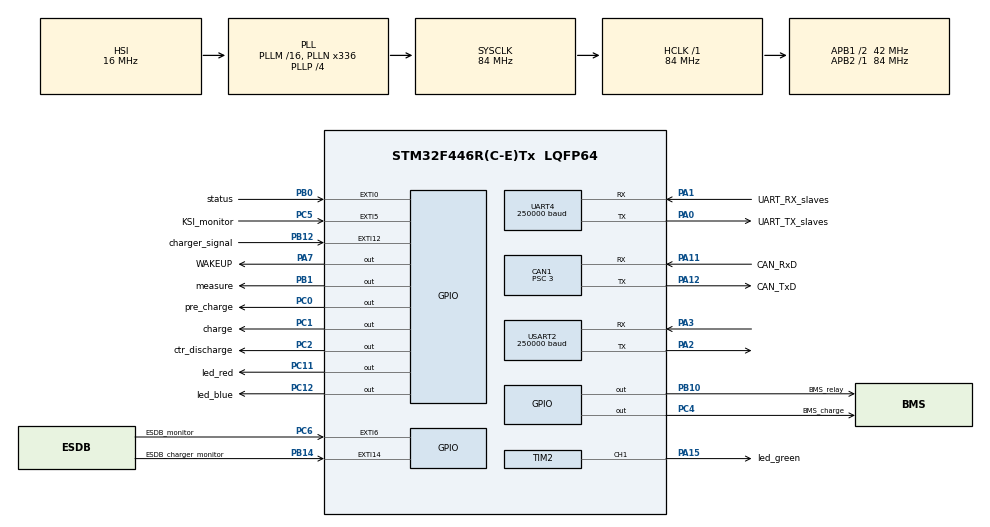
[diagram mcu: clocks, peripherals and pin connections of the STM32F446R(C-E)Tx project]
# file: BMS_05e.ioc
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CAN1.BS1=CAN_BS1_11TQ
CAN1.BS2=CAN_BS2_2TQ
CAN1.CalculateBaudRate=1000000
CAN1.CalculateTimeBit=1000
CAN1.CalculateTimeQuantum=71.42857142857143
CAN1.Prescaler=3
Dma.Request0=UART4_RX
Dma.Request1=TIM6_UP
Dma.TIM6_UP.1.Direction=DMA_MEMORY_TO_PERIPH
Dma.TIM6_UP.1.FIFOMode=DMA_FIFOMODE_DISABLE
Dma.TIM6_UP.1.Instance=DMA1_Stream1
Dma.TIM6_UP.1.MemDataAlignment=DMA_MDATAALIGN_HALFWORD
Dma.TIM6_UP.1.MemInc=DMA_MINC_ENABLE
Dma.TIM6_UP.1.Mode=DMA_CIRCULAR
Dma.TIM6_UP.1.PeriphDataAlignment=DMA_PDATAALIGN_HALFWORD
Dma.TIM6_UP.1.PeriphInc=DMA_PINC_DISABLE
Dma.TIM6_UP.1.Priority=DMA_PRIORITY_LOW
Dma.UART4_RX.0.Direction=DMA_PERIPH_TO_MEMORY
Dma.UART4_RX.0.FIFOMode=DMA_FIFOMODE_DISABLE
Dma.UART4_RX.0.Instance=DMA1_Stream2
Dma.UART4_RX.0.MemDataAlignment=DMA_MDATAALIGN_BYTE
Dma.UART4_RX.0.MemInc=DMA_MINC_ENABLE
Dma.UART4_RX.0.Mode=DMA_NORMAL
Dma.UART4_RX.0.PeriphDataAlignment=DMA_PDATAALIGN_BYTE
Dma.UART4_RX.0.PeriphInc=DMA_PINC_DISABLE
Dma.UART4_RX.0.Priority=DMA_PRIORITY_LOW
Mcu.Family=STM32F4
Mcu.Name=STM32F446R(C-E)Tx
Mcu.Package=LQFP64
NVIC.CAN1_RX0_IRQn=true\:0\:0\:false\:false\:true\:true\:true\:true
NVIC.CAN1_RX1_IRQn=true\:0\:0\:false\:false\:true\:true\:true\:true
NVIC.DMA1_Stream1_IRQn=true\:0\:0\:false\:false\:true\:false\:true\:true
NVIC.DMA1_Stream2_IRQn=true\:0\:0\:false\:false\:true\:false\:true\:true
NVIC.EXTI0_IRQn=true\:0\:0\:false\:false\:true\:true\:true\:true
NVIC.EXTI15_10_IRQn=true\:0\:0\:false\:false\:true\:true\:true\:true
NVIC.EXTI9_5_IRQn=true\:0\:0\:false\:false\:true\:true\:true\:true
NVIC.PriorityGroup=NVIC_PRIORITYGROUP_4
NVIC.TIM2_IRQn=true\:0\:0\:false\:false\:true\:true\:true\:true
NVIC.TIM4_IRQn=true\:0\:0\:false\:false\:true\:true\:true\:true
NVIC.TIM6_DAC_IRQn=true\:0\:0\:false\:false\:true\:true\:true\:true
NVIC.TIM7_IRQn=true\:0\:0\:false\:false\:true\:true\:true\:true
NVIC.UART4_IRQn=true\:0\:0\:false\:false\:true\:true\:true\:true
PA0-WKUP.GPIO_Label=UART_TX_slaves
PA0-WKUP.Mode=Asynchronous
PA0-WKUP.Signal=UART4_TX
PA1.GPIO_Label=UART_RX_slaves
PA1.Mode=Asynchronous
PA1.Signal=UART4_RX
PA11.GPIO_Label=CAN_RxD
PA11.Mode=CAN_Activate
PA11.Signal=CAN1_RX
PA12.GPIO_Label=CAN_TxD
PA12.Mode=CAN_Activate
PA12.Signal=CAN1_TX
PA13.Signal=SYS_JTMS-SWDIO
PA14.Signal=SYS_JTCK-SWCLK
PA15.GPIO_Label=led_green
PA15.Signal=S_TIM2_CH1_ETR
PA2.Mode=Asynchronous
PA2.Signal=USART2_TX
PA3.Mode=Asynchronous
PA3.Signal=USART2_RX
PA7.GPIO_Label=WAKEUP
PA7.Signal=GPIO_Output
PB0.GPIO_Label=status
PB0.GPIO_ModeDefaultEXTI=GPIO_MODE_IT_RISING_FALLING
PB0.Signal=GPXTI0
PB1.GPIO_Label=measure
PB1.GPIO_PuPd=GPIO_NOPULL
PB1.Signal=GPIO_Output
PB10.GPIO_Label=BMS_relay
PB10.Signal=GPIO_Output
PB12.GPIO_Label=charger_signal
PB12.GPIO_ModeDefaultEXTI=GPIO_MODE_IT_RISING_FALLING
PB12.GPIO_PuPd=GPIO_PULLDOWN
PB12.Signal=GPXTI12
PB14.GPIO_Label=ESDB_charger_monitor
PB14.GPIO_ModeDefaultEXTI=GPIO_MODE_IT_RISING_FALLING
PB14.GPIO_PuPd=GPIO_PULLDOWN
PB14.Signal=GPXTI14
PB3.Signal=SYS_JTDO-SWO
PC0.GPIO_Label=pre_charge
PC0.Signal=GPIO_Output
PC1.GPIO_Label=charge
PC1.Signal=GPIO_Output
PC11.GPIO_Label=led_red
PC11.Signal=GPIO_Output
PC12.GPIO_Label=led_blue
PC12.Signal=GPIO_Output
PC2.GPIO_Label=ctr_discharge
PC2.Signal=GPIO_Output
PC4.GPIO_Label=BMS_charge
PC4.Signal=GPIO_Output
PC5.GPIO_Label=KSI_monitor
PC5.GPIO_ModeDefaultEXTI=GPIO_MODE_IT_RISING_FALLING
PC5.GPIO_PuPd=GPIO_NOPULL
PC5.Signal=GPXTI5
PC6.GPIO_Label=ESDB_monitor
PC6.GPIO_ModeDefaultEXTI=GPIO_MODE_IT_RISING_FALLING
PC6.GPIO_PuPd=GPIO_PULLDOWN
PC6.Signal=GPXTI6
ProjectManager.HeapSize=0x200
ProjectManager.StackSize=0x400
ProjectManager.TargetToolchain=STM32CubeIDE
RCC.AHBFreq_Value=84000000
RCC.APB1CLKDivider=RCC_HCLK_DIV2
RCC.APB1Freq_Value=42000000
RCC.APB1TimFreq_Value=84000000
RCC.APB2Freq_Value=84000000
RCC.APB2TimFreq_Value=84000000
RCC.CortexFreq_Value=84000000
RCC.HCLKFreq_Value=84000000
RCC.PLLN=336
RCC.PLLP=RCC_PLLP_DIV4
RCC.SYSCLKFreq_VALUE=84000000
RCC.SYSCLKSource=RCC_SYSCLKSOURCE_PLLCLK
RCC.USBFreq_Value=168000000
RCC.VCOOutputFreq_Value=336000000
SH.S_TIM2_CH1_ETR.0=TIM2_CH1,PWM Generation1 CH1
TIM2.AutoReloadPreload=TIM_AUTORELOAD_PRELOAD_ENABLE
TIM2.Channel-PWM\ Generation1\ CH1=TIM_CHANNEL_1
TIM2.Period=10000 - 1
TIM2.Prescaler=8400 - 1
TIM4.Period=62500 - 1
TIM4.Prescaler=1344 - 1
TIM6.Period=170 - 1
TIM6.Prescaler=8400 - 1
TIM7.Period=1000 - 1
TIM7.Prescaler=84 - 1
UART4.BaudRate=250000
UART4.VirtualMode=Asynchronous
USART2.BaudRate=250000
USART2.VirtualMode=VM_ASYNC
VP_TIM2_VS_ClockSourceINT.Mode=Internal
VP_TIM4_VS_ClockSourceINT.Mode=Internal
VP_TIM6_VS_ClockSourceINT.Mode=Enable_Timer
VP_TIM7_VS_ClockSourceINT.Mode=Enable_Timer
board=custom

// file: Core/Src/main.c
/* USER CODE BEGIN Header */
/**
  ******************************************************************************
  * @file           : main.c
  * @brief          : Main program body
  ******************************************************************************
  * @attention
  *
  * Copyright (c) 2025 STMicroelectronics.
  * All rights reserved.
  *
  * This software is licensed under terms that can be found in the LICENSE file
  * in the root directory of this software component.
  * If no LICENSE file comes with this software, it is provided AS-IS.
  *
  ******************************************************************************
  */
/* USER CODE END Header */
#include "main.h"

/* USER CODE BEGIN Includes */
#include "pl455.h"
#include "CO_app_STM32.h"
#include "OD.h"
/* USER CODE END Includes */

/* USER CODE BEGIN PTD */
typedef enum {
	SAFE = 0,
	ENGAGED,
	CHARGING,
	NOT_SAFE
} BMS_STATE_EnumTypedef;

/* USER CODE END PTD */

/* USER CODE BEGIN PD */

#define NUM_CELLS_SLAVE 15
#define NUM_TEMPERATURES 6
#define NUM_CELLS 30
#define NUM_SLAVES 2
#define SLAVE_RX_BUFF_SIZE 128

#define OVER_VOLT 4.2
#define UNDER_VOLT 2.5

#define VOLT_SEND_OFFSET 2.2

#define OVER_TEMPERATURE 70.0 // CELCIUS
#define WARNING_TEMPERATURE 65.0 //CELCIUS

#define DEBOUNCE_DELAY 100

#define COMS_SLAVES 10000 //10 seconds without communications, trigger BMS_OK to false

// For CANOpen
#define ARR_SEQ_LEN  8 // 6tpdos × 17 ms + 1×898 ms
#define NUM_TICKS ARR_SEQ_LEN

//Variable CanOpen TPDO Erros
#define canOpen_no_issues 0b00
#define canOpen_overvoltage 0b01
#define canOpen_undervoltage 0b10
#define canOpen_overcurrent 0b11
#define canOpen_warningTemperature 0b01
#define canOpen_overTemperature 0b10

#define canOpen_safe 0b00
#define canOpen_engaged 0b01
#define canOpen_charging 0b10
#define canOpen_notsafe 0b11
/* USER CODE END PD */

CAN_HandleTypeDef hcan1;

TIM_HandleTypeDef htim2;
TIM_HandleTypeDef htim4;
TIM_HandleTypeDef htim6;
TIM_HandleTypeDef htim7;
DMA_HandleTypeDef hdma_tim6_up;

UART_HandleTypeDef huart4;
UART_HandleTypeDef huart2;
DMA_HandleTypeDef hdma_uart4_rx;

/* USER CODE BEGIN PV */
/* BMS STATE */
BMS_STATE_EnumTypedef BMS_state;
bool_t BMS_state_change;

/* BMS OK */
bool_t BMS_OK;
/* IMD OK */
bool_t IMD_OK;

/* ESDB ON */
bool_t ESDB_flag;
/* MEASURE ESDB */
bool_t ESDB_watchdog;

/* ESDB_charger ON */
bool_t ESDB_charge_flag;
/* MEASURE ESDB_charger */
bool_t ESDB_charge_watchdog;

/* TSMS (KSI) ON */
bool_t TSMS_flag;
/* MEASURE KSI (TSMS) */
bool_t TSMS_watchdog;

/* CHARGER Optocoupler */
bool_t charger_optocoupler_flag;
/* charger Optocoupler Watch Dog */
bool_t charger_optocoupler_watchdog;
/* charger relay enable variable */
bool_t charger_relay_enable;

/* Pre-charge and Dis_charge variable */
bool_t pre_charge_enable;
bool_t dis_charge_enable;
/* Charge enable */
bool_t charge_enable;

/* ERRORS */
uint32_t under_volt, over_volt, can_auxiliar;
uint8_t over_temp;
uint8_t warning_temp;
bool_t over_current;
bool_t coms_slave;
uint8_t last_cells_error;
uint8_t lastlast_cells_error;

uint32_t coms_slaves_time;

/* SLAVES */
float v_slave1[NUM_CELLS_SLAVE];
float v_slave2[NUM_CELLS_SLAVE];
float temperatures[NUM_TEMPERATURES];

float B_plus;
float B_plus_fuse;

float HV_plus;

/* M-S COMMS */
char msg_debug[512]; //message between Master and PC for debug
size_t msg_debug_len; //message with the length of msg_debug

uint8_t msg_slave[SLAVE_RX_BUFF_SIZE]; //message between master and slave
uint16_t msg_slave_len;

bool_t MS_send_flag;
bool_t MS_receive_flag;

/* CAN BUS */
uint16_t timestampGrupo = 0;

volatile uint8_t flagEnvioTPDO = 0;
uint8_t blocoAtual = 0;
uint8_t contadorTicks = 0;

/*Debug state char*/
char *BMS_STATE_STRINGS[] = {
    "SAFE",
    "ENGAGED",
    "CHARGING",
	"NOT_SAFE"
};

uint32_t debounce_start;
uint8_t debounce_pending;

// For CANOpen
static const uint16_t arrSeq[ARR_SEQ_LEN] =
		{ 169, 169, 169, 169, 169, 169, 169, 8809 };
/* USER CODE END PV */

void SystemClock_Config(void);
static void MX_GPIO_Init(void);
static void MX_DMA_Init(void);
static void MX_TIM2_Init(void);
static void MX_CAN1_Init(void);
static void MX_UART4_Init(void);
static void MX_TIM6_Init(void);
static void MX_TIM7_Init(void);
static void MX_TIM4_Init(void);
static void MX_USART2_UART_Init(void);

int main(void)
{

  /* USER CODE BEGIN 1 */
  //FIXME: quando forem mudar a placa da master, alguns watchdogs pinos estão diferentes na versão velha e na nova, tem que alterar isso no ponto IOC
  /* USER CODE END 1 */

  /* MCU Configuration--------------------------------------------------------*/

  /* Reset of all peripherals, Initializes the Flash interface and the Systick. */
  HAL_Init();

  /* USER CODE BEGIN Init */
  BMS_state = NOT_SAFE;
  BMS_state_change = true;

  under_volt = 0;
  over_volt = 0;
  can_auxiliar = 0;
  over_temp = 0;
  warning_temp = 0;
  over_current = false;
  coms_slave = true;

  coms_slaves_time = HAL_GetTick();

  BMS_OK = true;
  IMD_OK = true;

  ESDB_watchdog = false;
  ESDB_flag = true;

  ESDB_charge_watchdog = false;
  ESDB_charge_flag = true;

  TSMS_watchdog = false;
  TSMS_flag = false;

  charger_optocoupler_flag = false;
  charger_optocoupler_watchdog = false;
  charger_relay_enable = false;

  pre_charge_enable = false;
  dis_charge_enable = false;
  charge_enable = false;

  MS_send_flag = false;
  MS_receive_flag = false;

  debounce_pending = 0;

  last_cells_error = 0x00;
  lastlast_cells_error = 0x00;

  /* USER CODE END Init */

  /* Configure the system clock */
  SystemClock_Config();

  /* Initialize all configured peripherals */
  MX_GPIO_Init();
  MX_DMA_Init();
  MX_TIM2_Init();
  MX_CAN1_Init();
  MX_UART4_Init();
  MX_TIM6_Init();
  MX_TIM7_Init();
  MX_TIM4_Init();
  MX_USART2_UART_Init();
  /* USER CODE BEGIN 2 */

  /*SET BMS_RELAY INITIAL CLOSE */
  HAL_GPIO_WritePin(BMS_relay_GPIO_Port, BMS_relay_Pin, GPIO_PIN_SET);
  HAL_GPIO_WritePin(BMS_charge_GPIO_Port, BMS_charge_Pin, GPIO_PIN_SET); //FIXME: Acrescentei isto uma vez que estes dois relays funcionam como se fossem um só e começam como se tudo estivesse bem

  //FIXME: Acrescentei isto que é o controlo do relay do charger que é controlado pelo carregador, por essa mesma razão, este começa a false
  HAL_GPIO_WritePin(charge_GPIO_Port, charge_Pin, GPIO_PIN_RESET);
  charger_relay_enable = false;

  HAL_Delay(100); //Delay just to ensure that the current will

  /* READ INITIAL VALUES OF THE WATCHDOGS */
  if( HAL_GPIO_ReadPin(status_GPIO_Port, status_Pin) == GPIO_PIN_SET){
  	  IMD_OK = true;
    }
    else{
  	  IMD_OK = false;
    }

  if( HAL_GPIO_ReadPin(KSI_monitor_GPIO_Port, KSI_monitor_Pin) == GPIO_PIN_SET){
	  TSMS_watchdog = true;
  }
  else{
	  TSMS_watchdog = false;
  }

  if( HAL_GPIO_ReadPin(ESDB_monitor_GPIO_Port, ESDB_monitor_Pin) == GPIO_PIN_SET){
	  ESDB_watchdog = true;
  }
  else{
	  ESDB_watchdog = false;
  }

  if( HAL_GPIO_ReadPin(ESDB_charger_monitor_GPIO_Port, ESDB_charger_monitor_Pin) == GPIO_PIN_SET){
  	  ESDB_charge_watchdog = true;
    }
    else{
  	  ESDB_charge_watchdog = false;
    }

  if( HAL_GPIO_ReadPin(charger_signal_GPIO_Port, charger_signal_Pin) == GPIO_PIN_SET) {
	  charger_optocoupler_watchdog = true;
  }
  else {
	  charger_optocoupler_watchdog = false;
  }

  //Message to debug, verify if the connection between BMS and PC are good
  msg_debug_len = sprintf(msg_debug, "BMS Master Initialized with success.\n");
  HAL_UART_Transmit(&huart2, (uint8_t *)msg_debug, msg_debug_len, 1000);
  memset(msg_debug, 0, msg_debug_len);

  //FIXME: Tem que descomentar o codigo do wakeup e setups dos slaves
  /* WakeUp and Setup Routine for BQ76PL455A-Q1 */
  HAL_Delay(500);
  wakeUp(); //Wake up the master slave and he will wake up the others

  HAL_Delay(500);
  setupSlave(); //Setup all the slave
  //FIXME: Alterei uma cena no balancing setup
  balancing_setup();

  //This will receive the data from slave (uart) via DMA - activate after the setup is done
  HAL_UARTEx_ReceiveToIdle_DMA(&huart4, msg_slave, SLAVE_RX_BUFF_SIZE);
  __HAL_DMA_DISABLE_IT(&hdma_uart4_rx,DMA_IT_HT); //This deactivates the callback on half the message receive from slave

  /* CanOPEN initiation */
  CANopenNodeSTM32 canopenNodeSTM32;
  canopenNodeSTM32.CANHandle = &hcan1;
  canopenNodeSTM32.HWInitFunction = MX_CAN1_Init;
  canopenNodeSTM32.timerHandle = &htim7;
  canopenNodeSTM32.desiredNodeID = 32; //TODO: a modificar
  canopenNodeSTM32.baudrate = 1000;
  canopen_app_init(&canopenNodeSTM32);
  HAL_DMA_Start(&hdma_tim6_up, (uint32_t) arrSeq, (uint32_t) &TIM6->ARR, ARR_SEQ_LEN);
  __HAL_TIM_ENABLE_DMA(&htim6, TIM_DMA_UPDATE);
  HAL_TIM_Base_Start_IT(&htim6);

  /* SET THE PWM FOR GREEN LED*/
  TIM2->CCR1 = 0;
  HAL_TIM_PWM_Start(&htim2, TIM_CHANNEL_1);

  /* SET THE TIMERS TO START RUN*/
  HAL_TIM_Base_Start_IT(&htim4);

  //powerDown();

  HAL_Delay(5000); //Wait for IMD

  /* USER CODE END 2 */

  /* Infinite loop */
  /* USER CODE BEGIN WHILE */
  //while(1)

  while (1)
  {

	  // First thing ask for voltages (so it hopefully doesnt block)
	  if (MS_send_flag == true) {
		  MS_send_flag = false;
		  WriteReg(0, 2, 0x01, 1, FRMWRT_ALL_R);   //method 1-broadcast

		  //Debug, como isto acontece de 1 em 1 segundo, vou dar print do estado das coisas da BMS aqui
// ESDB_watchdog == (BMS_OK && IMD_OK && !charger_relay_enable
		  msg_debug_len = sprintf(msg_debug,
				  "------------------------------------------------\n\n"
				  "\t[BMS STATES]\n"
				  "\tESDB_flag = %d\n"
				  "\tESDB_charge_flag = %d\n"
				  "\tTSMS_flag = %d\n"
				  "\tESDB_wd = %d\n"
				  "\tESDB_charge_wd = %d\n"
				  "\tBMS_OK = %d\n"
				  "\tIMD_OK = %d\n"
				  "\tcharger_relay_enable = %d\n",
				  ESDB_flag,
				  ESDB_charge_flag,
				  TSMS_flag,
				  ESDB_watchdog,
				  ESDB_charge_watchdog,
				  BMS_OK,
				  IMD_OK,
				  charger_relay_enable);
		  HAL_UART_Transmit(&huart2, (uint8_t *)msg_debug, msg_debug_len, 100);

	  }

	  if(debounce_pending == 1 && (HAL_GetTick() - debounce_start) >= DEBOUNCE_DELAY){

		  debounce_pending = 0;

		  if( HAL_GPIO_ReadPin(status_GPIO_Port, status_Pin) == GPIO_PIN_SET){
			  IMD_OK = true;
		  }
		  else{
			  IMD_OK = false;
		  }

		  if( HAL_GPIO_ReadPin(KSI_monitor_GPIO_Port, KSI_monitor_Pin) == GPIO_PIN_SET){
			  TSMS_watchdog = true;
		  }
		  else{
			  TSMS_watchdog = false;
		  }

		  if( HAL_GPIO_ReadPin(ESDB_monitor_GPIO_Port, ESDB_monitor_Pin) == GPIO_PIN_SET){
			  ESDB_watchdog = true;
		  }
		  else{
			  ESDB_watchdog = false;
		  }
		  //FIXME: Descomentei isto
		  if( HAL_GPIO_ReadPin(ESDB_charger_monitor_GPIO_Port, ESDB_charger_monitor_Pin) == GPIO_PIN_SET){
			  ESDB_charge_watchdog = true;
		  }
		  else{
			  ESDB_charge_watchdog = false;
		  }

		  if( HAL_GPIO_ReadPin(charger_signal_GPIO_Port, charger_signal_Pin) == GPIO_PIN_SET) {
			  charger_optocoupler_watchdog = true;
		  }
		  else {
			  charger_optocoupler_watchdog = false;
		  }
	  }

	  //TODO: Adicionei isto: Quando é detetado que o carregador foi ligado, tem que se ligar o Charger_Relay
	  /* Charger Watchdog */

	  //Quando o carregador é ligado, ativar o relay do charger na placa dos relays
	  if( (charger_optocoupler_flag = charger_optocoupler_watchdog) == true ) {
		  if (charger_relay_enable == false) {
			  HAL_GPIO_WritePin(charge_GPIO_Port, charge_Pin, GPIO_PIN_SET);
			  charger_relay_enable = true;
		  }
	  }
	  else {
		  if(charger_relay_enable == true) {
			  HAL_GPIO_WritePin(charge_GPIO_Port, charge_Pin, GPIO_PIN_RESET);
			  charger_relay_enable = false;
		  }
	  }
	  //FIXME: Outro ponto, pode estar a acontecer de o optoucoupler, quando o carregador não está ligado, não tem o gnd de um lado e fica a flutuar na saida dele, entrada da master, neste caso, acho que isto é facilmente resolvido com um pull down interno neste pino da master que está a ler isto.

	  //FIXME: Mudei isto para: os dois relays da BMS é que funcionam como um e não o BMS_relay e o charger_Pin, ou seja, o BMS_relay e BMS_charge
	  /* BMS OK, if not -> open BMS relay */
	  if( (BMS_OK = !(under_volt || over_volt || over_temp || over_current || !coms_slave)) == false || IMD_OK == false ) {
		  HAL_GPIO_WritePin(BMS_relay_GPIO_Port, BMS_relay_Pin, GPIO_PIN_RESET);
		  HAL_GPIO_WritePin(BMS_charge_GPIO_Port, BMS_charge_Pin, GPIO_PIN_RESET);
	  }

	  /* TSMS and ESDB */
	  ESDB_flag = ESDB_watchdog == (BMS_OK && IMD_OK); // evitar mandar erro do ESDB quando a BMS != OK ou IMD != OK
	  TSMS_flag = ESDB_flag && TSMS_watchdog;

	  //TODO: Adicionei: Condição para verificar o ESDB_charger
	  /* ESDB_charger */
	  ESDB_charge_flag = true;

	  /* check if B_plus is at <5.0V */
	  if (dis_charge_enable == true && B_plus <= 5.0){
		  HAL_GPIO_WritePin(ctr_discharge_GPIO_Port, ctr_discharge_Pin, GPIO_PIN_RESET);
	  	  dis_charge_enable = false;
	  }

	  /* check if pre-check is being done and if yes, it's at maximum 90% of the total tension of the pack */
	  if (pre_charge_enable == true && B_plus >= (HV_plus * 0.9)){
		  HAL_GPIO_WritePin(pre_charge_GPIO_Port, pre_charge_Pin, GPIO_PIN_RESET);
		  pre_charge_enable = false;
	  }

	  /* SWITCH STATE */
	  //TODO: Mudei isto para incluir a logica do carregador
	  /* Basicamente, se o carregador tiver ligado, o relay_charger_enable vai estar a true e por essa razão, o ESDB_charger_flag pode ter medições certas,
	   * caso este não esteja conectado, as medições deste são inuteis e não são tidas em conta para o estado Not Safe.
	   * Caso, esteja tudo okay, entramos no outro else, onde a primeira condição que verificamos é se o charger_optoucoupler_flag == true,
	   * isto significa, que o carregador está ligado à mota e entramos no caso do charging, nunca podendo entrar no caso do safe ou engaged uma vez
	   * que não queremos que a roda começa a girar caso a mota esteja a carregar
	   */
	  if (BMS_OK == false || IMD_OK == false || ESDB_flag == false) { // Adicionei a condição do charger
		  // NOT SAFE
		  if (BMS_state != NOT_SAFE) {
			  BMS_state = NOT_SAFE;
			  BMS_state_change = true;
		  }
	  }
	  else {
		  if (charger_optocoupler_flag == true){
			  if (BMS_state != CHARGING){
				  BMS_state = CHARGING;
				  BMS_state_change = true;
			  }
		  }
		  else if (TSMS_flag == false) {
			  // SAFE
			  if (BMS_state != SAFE) {
				  BMS_state = SAFE;
				  BMS_state_change = true;
		  	  }
		  }
		  else {
			  // ENGAGED
			  if (BMS_state != ENGAGED) {
				  BMS_state = ENGAGED;
				  BMS_state_change = true;
			  }
		  }
	  }
	  //TODO: Continua comentado - Eu acho que esta lógica está mal, vou implementar a logica como eu acho que faz sentido em cima
	  /*
	  if (BMS_state == CHARGING) {
		  if (ESDB_charge_flag == false) { // falta uma condição para o charger
			  // NOT SAFE
			  if (BMS_state != NOT_SAFE) {
				  BMS_state = NOT_SAFE;
				  BMS_state_change = true;
			  }
		  }

	  }
	  else if (charger_flag == true) {
		  // charger turned ON
		  if (BMS_state != CHARGING) {
			  BMS_state = CHARGING;
			  BMS_state_change = true;
		  }
	  }*/

	  /* STATE DEFINE */
	  if (BMS_state_change == true) {

		  switch (BMS_state) {
			  case NOT_SAFE:

				  HAL_GPIO_WritePin(pre_charge_GPIO_Port, pre_charge_Pin, GPIO_PIN_RESET);
				  pre_charge_enable = false;
				  //FIXME: Eu acho que isto que está comentado, não faz sentido porque:
				  // caso seja o BMS_charge pino, este deve ser controlado ao mesmo tempo que o pino do BMS_relay
				  // caso seja o charge_relay pino, este deve ser controlado pelo controlador
				  // portanto, em nenhum caso, deve ser alterado aqui
				  /*HAL_GPIO_WritePin(BMS_charge_GPIO_Port, BMS_charge_Pin, GPIO_PIN_RESET);
				  charge_enable = false;*/

				  if (dis_charge_enable == false && B_plus >= 5.0){
					  HAL_GPIO_WritePin(ctr_discharge_GPIO_Port, ctr_discharge_Pin, GPIO_PIN_SET);
					  dis_charge_enable = true;
				  }

				  /* LED CLUSTER */
				  TIM2->CCR1 = 0;
				  HAL_GPIO_WritePin(led_blue_GPIO_Port, led_blue_Pin, GPIO_PIN_RESET);

				  HAL_GPIO_WritePin(led_red_GPIO_Port, led_red_Pin, GPIO_PIN_SET);
				  break;

			  case SAFE:

				  /* Turn off pre-charge circuit for safety reasons*/
				  HAL_GPIO_WritePin(pre_charge_GPIO_Port, pre_charge_Pin, GPIO_PIN_RESET);
				  pre_charge_enable = false;
				  //FIXME: Aqui é a mesma justificação que o caso Not Safe
				 /* HAL_GPIO_WritePin(BMS_charge_GPIO_Port, BMS_charge_Pin, GPIO_PIN_RESET);
				  charge_enable = false;*/

				  if (dis_charge_enable == false && B_plus >= 5.0){
					  HAL_GPIO_WritePin(ctr_discharge_GPIO_Port, ctr_discharge_Pin, GPIO_PIN_SET);
					  dis_charge_enable = true;
				  }

				  /* LED CLUSTER */
				  HAL_GPIO_WritePin(led_blue_GPIO_Port, led_blue_Pin, GPIO_PIN_RESET);
				  HAL_GPIO_WritePin(led_red_GPIO_Port, led_red_Pin, GPIO_PIN_RESET);

				  TIM2->CCR1 = 5000;
				  break;

			  case ENGAGED:

				  /* Turn off discharge circuit for safety reasons*/
				  HAL_GPIO_WritePin(ctr_discharge_GPIO_Port, ctr_discharge_Pin, GPIO_PIN_RESET);
				  dis_charge_enable = false;
				  //FIXME: Aqui é a mesma justificação que o case Not Safe
				  /*HAL_GPIO_WritePin(BMS_charge_GPIO_Port, BMS_charge_Pin, GPIO_PIN_RESET);
				  charge_enable = false;*/
				  HAL_Delay(750);
				  if (pre_charge_enable == false && B_plus < (HV_plus * 0.9)) {
					  HAL_GPIO_WritePin(pre_charge_GPIO_Port, pre_charge_Pin, GPIO_PIN_SET);
					  pre_charge_enable = true;
				  }

				  /* LED CLUSTER */
				  TIM2->CCR1 = 10001;
				  HAL_GPIO_WritePin(led_blue_GPIO_Port, led_blue_Pin, GPIO_PIN_RESET);
				  HAL_GPIO_WritePin(led_red_GPIO_Port, led_red_Pin, GPIO_PIN_RESET);
				  break;

			  case CHARGING:

				  /* Turn off pre-charge circuit for safety reasons */
				  HAL_GPIO_WritePin(pre_charge_GPIO_Port, pre_charge_Pin, GPIO_PIN_RESET);
				  pre_charge_enable = false;
				  //FIXME: Isto aqui acho que desaparece, porque passamos a fazer isto assim que detetamos que o charger_optocoupler_watchdog (optoucoupler) é lido.
				  //FIXME: Caso isto fosse feito aqui, o que aconteceria, é que iriamos entrar no estado do Charging, mas sempre no Not Safe porque a primeira vez a flag do ESDB_Charger estava a falso e nunca mais sai porque iamos sempre estar no NOT Safe
				  /*HAL_GPIO_WritePin(charge_GPIO_Port, charge_Pin, GPIO_PIN_SET);
				  charge_enable = true;*/

				  if (dis_charge_enable == false && B_plus >= 5.0){
					  HAL_GPIO_WritePin(ctr_discharge_GPIO_Port, ctr_discharge_Pin, GPIO_PIN_SET);
					  dis_charge_enable = true;
				  }

				  /* LED CLUSTER */
				  TIM2->CCR1 = 0;
				  HAL_GPIO_WritePin(led_red_GPIO_Port, led_red_Pin, GPIO_PIN_RESET);

				  HAL_GPIO_WritePin(led_blue_GPIO_Port, led_blue_Pin, GPIO_PIN_SET);
				  break;

			  default:
				  break;

		  }
		  BMS_state_change = false;

	  }

	  // Get voltages/temperatures
	  if (MS_receive_flag == true) {
		  MS_receive_flag = false;
		  dataSlave(msg_slave);

		  coms_slaves_time = HAL_GetTick();

		  // CHECK UNDER/OVER VOLTAGE, OVER TEMPERATURE and OVER CURRENT

		  //Reset das variaveis de erro
		  over_volt = 0;
		  under_volt = 0;
		  can_auxiliar = 0;
		  warning_temp = 0;
		  over_temp = 0;
		  over_current = false;
		  coms_slave = true;

		  //UNDER/OVER VOLTAGE
		  for (uint8_t i = 0; i < NUM_CELLS_SLAVE; i++) {

			  if (v_slave1[i] > OVER_VOLT)
				  over_volt |= 0b1 << i;
			  else if (v_slave1[i] < UNDER_VOLT) {
				  if (i == 0 && v_slave1[0] < UNDER_VOLT - 0.5) {
					  under_volt |= 0b1;
				  }
				  else {

					  under_volt |= 0b1 << i;
				  }
			  }

			  if (v_slave2[i] > OVER_VOLT)
				  over_volt |= 0b1 << (i + 15);

			  else if (v_slave2[i] < UNDER_VOLT)
				  under_volt |= 0b1 << (i + 15);

		  }

		  //OVER TEMPERATURE
		  for (uint8_t i = 0; i < NUM_TEMPERATURES; i++) {

			  if (temperatures[i] > OVER_TEMPERATURE)
				  over_temp |= 0b1 << i;

			  else if (temperatures[i] > WARNING_TEMPERATURE){
				  warning_temp |= 0b1 << i;
			  }
		  }

		  //FIXME: Neste momento isto nunca vai ser ativado porque o fusivel está no B- e não no B+, então caso o fusivel rebente, no B+ não notamos nada
		  //OVER CURRENT TODO: Neste momento isto não está a ser visto porque o fusivel está no B-, ou seja esta condição é inutil
		  if( B_plus == 0 && BMS_state == ENGAGED && pre_charge_enable == false ) {
			  over_current = true;
		  }

		  /* CHARGING - BALACING */
	  	  if (BMS_state == CHARGING) {
	  		  //balancing();
		  }
	  }
	  else if( (HAL_GetTick() - coms_slaves_time) >= COMS_SLAVES){

		  coms_slave = false;
		  coms_slaves_time = HAL_GetTick();

	  }

	  /* CAN BUS */
	  /*ACHO QUE O CAN DEVE SER A ULTIMA CENA A SER FEITA NO CODIGO PARA SE MANDAR TAMBÈM LOGO OS ERROS*/
	  canopen_app_process();

	  if (flagEnvioTPDO) {
		flagEnvioTPDO = 0;

		if (contadorTicks == 0) {
			timestampGrupo = (HAL_GetTick() / 1000) % 8192;

		}

		if (contadorTicks < (NUM_TICKS - 1)) {

			uint16_t header = ((blocoAtual & 0x07) << 13)
					| (timestampGrupo & 0x1FFF);

			//FIXME: DESATIVAR QUANDO SE COMEÇAR A USAR O TPDO DOS ERROS
			//OD_PERSIST_COMM.x6000_V_C.header = header;

			/*FIXME: ATIVAR QUANDO SE COMEÇAR A USAR O TPDO TAMBEM DOS ERROS*/
			if (contadorTicks == (NUM_TICKS - 2)){
				OD_PERSIST_COMM.x6001_errors_State.header = header;
			}
			else{
				OD_PERSIST_COMM.x6000_V_C.header = header;
			}

			switch (blocoAtual) {
				case 0:
					for (int i = 0; i < 6; i++) {
						((uint8_t*) &OD_PERSIST_COMM.x6000_V_C.val1)[i] =
								(uint8_t)((v_slave1[NUM_CELLS_SLAVE - 1 - i] - 2.2) * 100.0);
					}
					break;
				case 1:
					for (int i = 0; i < 6; i++) {
						((uint8_t*) &OD_PERSIST_COMM.x6000_V_C.val1)[i] =
								(uint8_t)((v_slave1[NUM_CELLS_SLAVE - 1 - 6 - i] - 2.2) * 100.0);
					}
					break;

				case 2:
					for (int i = 0; i < 3; i++) {
						((uint8_t*) &OD_PERSIST_COMM.x6000_V_C.val1)[i] =
								(uint8_t)((v_slave1[NUM_CELLS_SLAVE - 1 - 12 - i] - 2.2) * 100.0);
					}
					for (int i = 0; i < 3; i++) {
						((uint8_t*) &OD_PERSIST_COMM.x6000_V_C.val1)[i + 3] =
								(uint8_t)((v_slave2[NUM_CELLS_SLAVE - 1 - i] - 2.2) * 100.0);
					}
					break;

				case 3:
					for (int i = 0; i < 6; i++) {
						((uint8_t*) &OD_PERSIST_COMM.x6000_V_C.val1)[i] =
								(uint8_t)((v_slave2[NUM_CELLS_SLAVE - 1 - 3 - i] - 2.2) * 100.0);
					}
					break;

				case 4:
					for (int i = 0; i < 6; i++) {
						((uint8_t*) &OD_PERSIST_COMM.x6000_V_C.val1)[i] =
								(uint8_t)((v_slave2[NUM_CELLS_SLAVE - 1 - 9 - i] - 2.2) * 100.0);
					}
					break;

				case 5:
					for (int i = 0; i < 6; i++) {
						((uint8_t*) &OD_PERSIST_COMM.x6000_V_C.val1)[i] =
								(uint8_t) (temperatures[i]) * 2.0;
					}
					break;

				case 6:

					uint8_t sum_cells_error = 0;

					if (under_volt > 0) sum_cells_error++;
					if (over_volt > 0) sum_cells_error++;
					if (over_current == true) sum_cells_error++;

					if(under_volt > 0 && (sum_cells_error == 1 || (sum_cells_error >= 2 && last_cells_error != canOpen_undervoltage) || (sum_cells_error == 3 && lastlast_cells_error != canOpen_undervoltage))){
						under_volt |= canOpen_undervoltage << 30;
						OD_PERSIST_COMM.x6001_errors_State.voltage_current_vals = under_volt;

					} else if(over_volt > 0 && (sum_cells_error == 1 || (sum_cells_error >= 2 && last_cells_error != canOpen_overvoltage) || (sum_cells_error == 3 && lastlast_cells_error != canOpen_overvoltage))){
						over_volt |= canOpen_overvoltage << 30;
						OD_PERSIST_COMM.x6001_errors_State.voltage_current_vals = over_volt;

					} else if(over_current == true && (sum_cells_error == 1 || (sum_cells_error >= 2 && last_cells_error != canOpen_overcurrent) || (sum_cells_error == 3 && lastlast_cells_error != canOpen_overcurrent))){
						can_auxiliar |= canOpen_overcurrent << 30;
						OD_PERSIST_COMM.x6001_errors_State.voltage_current_vals = can_auxiliar;

					} else {
						can_auxiliar = canOpen_no_issues << 30;
						OD_PERSIST_COMM.x6001_errors_State.voltage_current_vals = can_auxiliar;

					}

					if (over_temp > 0) {
						over_temp |= canOpen_overTemperature << 6;
						OD_PERSIST_COMM.x6001_errors_State.temperatures = over_temp;
					}
					else if (warning_temp > 0) {
						warning_temp |= canOpen_warningTemperature << 6;
						OD_PERSIST_COMM.x6001_errors_State.temperatures = warning_temp;
					}
					else {
						can_auxiliar = canOpen_no_issues << 6;
						OD_PERSIST_COMM.x6001_errors_State.temperatures = can_auxiliar;
					}

					OD_PERSIST_COMM.x6001_errors_State.states =
							(BMS_state << 6) | ((uint8_t) !IMD_OK << 5) | ((uint8_t) (!(ESDB_flag) || !(ESDB_charge_flag)) << 4) | ((uint8_t) TSMS_flag << 3) |
							((uint8_t) !coms_slave << 2) | ((uint8_t) !BMS_OK << 1); //TODO: porque é que aqui estão as negações em certas cenas?

					lastlast_cells_error = last_cells_error;
					last_cells_error = (OD_PERSIST_COMM.x6001_errors_State.voltage_current_vals >> 30) & 0x3;

					break;

				default:
					break;

			}

			/// UNCOMMENT TO DEBUG MESSAGE SENT ///
			/*
			msg_debug_len = sprintf(msg_debug, "[BLOCK %d]\n", blocoAtual);
			HAL_UART_Transmit(&huart2, (uint8_t*) msg_debug, msg_debug_len, 100);

			for (int i = 0; i < 6; i++) {
				msg_debug_len = sprintf(msg_debug, "&OD_PERSIST_COMM.x6000_V_C.val1[%d] = %d \n", i, ((uint8_t*) &OD_PERSIST_COMM.x6000_V_C.val1)[i]);
				HAL_UART_Transmit(&huart2, (uint8_t*)msg_debug, msg_debug_len, 100);
			}
			*/
			//TODO: FALTA LOGICA DE PREENCHIMENTO DO TPDO
			/*para saber que variaveis estão no dicionario
			 *  OD_PERSIST_COMM.x6001_errors_State.isto é a base para aparecer o nome das variaveis é so depois quando se está a escrever carregar no ctrl + space
			 * voltage_current_vals -> var de 32 bits necessario definir os dois mais significativos
			 * temperatures -> 1 byte
			 * states -> 1 byte
			 */
			//TODO: FALTA SELECIONAR QUAL O CO_TPDOSENDREQUEST QUE SE USA CO_TPDOsendRequest(&canopenNodeSTM32.canOpenStack->TPDO[1]);
			if (contadorTicks == (NUM_TICKS - 2)){
				CO_TPDOsendRequest(&canopenNodeSTM32.canOpenStack->TPDO[1]);
			}
			else{
				CO_TPDOsendRequest(&canopenNodeSTM32.canOpenStack->TPDO[0]);
			}

			blocoAtual++;
		}

		contadorTicks++;

		if (contadorTicks >= NUM_TICKS) {
			contadorTicks = 0;
			blocoAtual = 0;
		}
	  }

    /* USER CODE END WHILE */

  }
}

void SystemClock_Config(void)
{
  RCC_OscInitTypeDef RCC_OscInitStruct = {0};
  RCC_ClkInitTypeDef RCC_ClkInitStruct = {0};

  /** Configure the main internal regulator output voltage
  */
  __HAL_RCC_PWR_CLK_ENABLE();
  __HAL_PWR_VOLTAGESCALING_CONFIG(PWR_REGULATOR_VOLTAGE_SCALE3);

  /** Initializes the RCC Oscillators according to the specified parameters
  * in the RCC_OscInitTypeDef structure.
  */
  RCC_OscInitStruct.OscillatorType = RCC_OSCILLATORTYPE_HSI;
  RCC_OscInitStruct.HSIState = RCC_HSI_ON;
  RCC_OscInitStruct.HSICalibrationValue = RCC_HSICALIBRATION_DEFAULT;
  RCC_OscInitStruct.PLL.PLLState = RCC_PLL_ON;
  RCC_OscInitStruct.PLL.PLLSource = RCC_PLLSOURCE_HSI;
  RCC_OscInitStruct.PLL.PLLM = 16;
  RCC_OscInitStruct.PLL.PLLN = 336;
  RCC_OscInitStruct.PLL.PLLP = RCC_PLLP_DIV4;
  RCC_OscInitStruct.PLL.PLLQ = 2;
  RCC_OscInitStruct.PLL.PLLR = 2;
  if (HAL_RCC_OscConfig(&RCC_OscInitStruct) != HAL_OK)
  {
    Error_Handler();
  }

  /** Initializes the CPU, AHB and APB buses clocks
  */
  RCC_ClkInitStruct.ClockType = RCC_CLOCKTYPE_HCLK|RCC_CLOCKTYPE_SYSCLK
                              |RCC_CLOCKTYPE_PCLK1|RCC_CLOCKTYPE_PCLK2;
  RCC_ClkInitStruct.SYSCLKSource = RCC_SYSCLKSOURCE_PLLCLK;
  RCC_ClkInitStruct.AHBCLKDivider = RCC_SYSCLK_DIV1;
  RCC_ClkInitStruct.APB1CLKDivider = RCC_HCLK_DIV2;
  RCC_ClkInitStruct.APB2CLKDivider = RCC_HCLK_DIV1;

  if (HAL_RCC_ClockConfig(&RCC_ClkInitStruct, FLASH_LATENCY_2) != HAL_OK)
  {
    Error_Handler();
  }
}

static void MX_CAN1_Init(void)
{

  hcan1.Instance = CAN1;
  hcan1.Init.Prescaler = 3;
  hcan1.Init.Mode = CAN_MODE_NORMAL;
  hcan1.Init.SyncJumpWidth = CAN_SJW_1TQ;
  hcan1.Init.TimeSeg1 = CAN_BS1_11TQ;
  hcan1.Init.TimeSeg2 = CAN_BS2_2TQ;
  hcan1.Init.TimeTriggeredMode = DISABLE;
  hcan1.Init.AutoBusOff = DISABLE;
  hcan1.Init.AutoWakeUp = DISABLE;
  hcan1.Init.AutoRetransmission = DISABLE;
  hcan1.Init.ReceiveFifoLocked = DISABLE;
  hcan1.Init.TransmitFifoPriority = DISABLE;
  if (HAL_CAN_Init(&hcan1) != HAL_OK)
  {
    Error_Handler();
  }

}

static void MX_TIM2_Init(void)
{

  TIM_ClockConfigTypeDef sClockSourceConfig = {0};
  TIM_MasterConfigTypeDef sMasterConfig = {0};
  TIM_OC_InitTypeDef sConfigOC = {0};

  htim2.Instance = TIM2;
  htim2.Init.Prescaler = 8400 - 1;
  htim2.Init.CounterMode = TIM_COUNTERMODE_UP;
  htim2.Init.Period = 10000 - 1;
  htim2.Init.ClockDivision = TIM_CLOCKDIVISION_DIV1;
  htim2.Init.AutoReloadPreload = TIM_AUTORELOAD_PRELOAD_ENABLE;
  if (HAL_TIM_Base_Init(&htim2) != HAL_OK)
  {
    Error_Handler();
  }
  sClockSourceConfig.ClockSource = TIM_CLOCKSOURCE_INTERNAL;
  if (HAL_TIM_ConfigClockSource(&htim2, &sClockSourceConfig) != HAL_OK)
  {
    Error_Handler();
  }
  if (HAL_TIM_PWM_Init(&htim2) != HAL_OK)
  {
    Error_Handler();
  }
  sMasterConfig.MasterOutputTrigger = TIM_TRGO_RESET;
  sMasterConfig.MasterSlaveMode = TIM_MASTERSLAVEMODE_DISABLE;
  if (HAL_TIMEx_MasterConfigSynchronization(&htim2, &sMasterConfig) != HAL_OK)
  {
    Error_Handler();
  }
  sConfigOC.OCMode = TIM_OCMODE_PWM1;
  sConfigOC.Pulse = 0;
  sConfigOC.OCPolarity = TIM_OCPOLARITY_HIGH;
  sConfigOC.OCFastMode = TIM_OCFAST_DISABLE;
  if (HAL_TIM_PWM_ConfigChannel(&htim2, &sConfigOC, TIM_CHANNEL_1) != HAL_OK)
  {
    Error_Handler();
  }
  HAL_TIM_MspPostInit(&htim2);

}

static void MX_TIM4_Init(void)
{

  TIM_ClockConfigTypeDef sClockSourceConfig = {0};
  TIM_MasterConfigTypeDef sMasterConfig = {0};

  htim4.Instance = TIM4;
  htim4.Init.Prescaler = 1344 - 1;
  htim4.Init.CounterMode = TIM_COUNTERMODE_UP;
  htim4.Init.Period = 62500 - 1;
  htim4.Init.ClockDivision = TIM_CLOCKDIVISION_DIV1;
  htim4.Init.AutoReloadPreload = TIM_AUTORELOAD_PRELOAD_DISABLE;
  if (HAL_TIM_Base_Init(&htim4) != HAL_OK)
  {
    Error_Handler();
  }
  sClockSourceConfig.ClockSource = TIM_CLOCKSOURCE_INTERNAL;
  if (HAL_TIM_ConfigClockSource(&htim4, &sClockSourceConfig) != HAL_OK)
  {
    Error_Handler();
  }
  sMasterConfig.MasterOutputTrigger = TIM_TRGO_RESET;
  sMasterConfig.MasterSlaveMode = TIM_MASTERSLAVEMODE_DISABLE;
  if (HAL_TIMEx_MasterConfigSynchronization(&htim4, &sMasterConfig) != HAL_OK)
  {
    Error_Handler();
  }

}

static void MX_TIM6_Init(void)
{

  TIM_MasterConfigTypeDef sMasterConfig = {0};

  htim6.Instance = TIM6;
  htim6.Init.Prescaler = 8400 - 1;
  htim6.Init.CounterMode = TIM_COUNTERMODE_UP;
  htim6.Init.Period = 170 - 1;
  htim6.Init.AutoReloadPreload = TIM_AUTORELOAD_PRELOAD_DISABLE;
  if (HAL_TIM_Base_Init(&htim6) != HAL_OK)
  {
    Error_Handler();
  }
  sMasterConfig.MasterOutputTrigger = TIM_TRGO_RESET;
  sMasterConfig.MasterSlaveMode = TIM_MASTERSLAVEMODE_DISABLE;
  if (HAL_TIMEx_MasterConfigSynchronization(&htim6, &sMasterConfig) != HAL_OK)
  {
    Error_Handler();
  }

}

static void MX_TIM7_Init(void)
{

  TIM_MasterConfigTypeDef sMasterConfig = {0};

  htim7.Instance = TIM7;
  htim7.Init.Prescaler = 84 - 1;
  htim7.Init.CounterMode = TIM_COUNTERMODE_UP;
  htim7.Init.Period = 1000 - 1;
  htim7.Init.AutoReloadPreload = TIM_AUTORELOAD_PRELOAD_DISABLE;
  if (HAL_TIM_Base_Init(&htim7) != HAL_OK)
  {
    Error_Handler();
  }
  sMasterConfig.MasterOutputTrigger = TIM_TRGO_RESET;
  sMasterConfig.MasterSlaveMode = TIM_MASTERSLAVEMODE_DISABLE;
  if (HAL_TIMEx_MasterConfigSynchronization(&htim7, &sMasterConfig) != HAL_OK)
  {
    Error_Handler();
  }

}

static void MX_UART4_Init(void)
{

  huart4.Instance = UART4;
  huart4.Init.BaudRate = 250000;
  huart4.Init.WordLength = UART_WORDLENGTH_8B;
  huart4.Init.StopBits = UART_STOPBITS_1;
  huart4.Init.Parity = UART_PARITY_NONE;
  huart4.Init.Mode = UART_MODE_TX_RX;
  huart4.Init.HwFlowCtl = UART_HWCONTROL_NONE;
  huart4.Init.OverSampling = UART_OVERSAMPLING_16;
  if (HAL_UART_Init(&huart4) != HAL_OK)
  {
    Error_Handler();
  }

}

static void MX_USART2_UART_Init(void)
{

  huart2.Instance = USART2;
  huart2.Init.BaudRate = 250000;
  huart2.Init.WordLength = UART_WORDLENGTH_8B;
  huart2.Init.StopBits = UART_STOPBITS_1;
  huart2.Init.Parity = UART_PARITY_NONE;
  huart2.Init.Mode = UART_MODE_TX_RX;
  huart2.Init.HwFlowCtl = UART_HWCONTROL_NONE;
  huart2.Init.OverSampling = UART_OVERSAMPLING_16;
  if (HAL_UART_Init(&huart2) != HAL_OK)
  {
    Error_Handler();
  }

}

static void MX_DMA_Init(void)
{

  /* DMA controller clock enable */
  __HAL_RCC_DMA1_CLK_ENABLE();

  /* DMA interrupt init */
  /* DMA1_Stream1_IRQn interrupt configuration */
  HAL_NVIC_SetPriority(DMA1_Stream1_IRQn, 0, 0);
  HAL_NVIC_EnableIRQ(DMA1_Stream1_IRQn);
  /* DMA1_Stream2_IRQn interrupt configuration */
  HAL_NVIC_SetPriority(DMA1_Stream2_IRQn, 0, 0);
  HAL_NVIC_EnableIRQ(DMA1_Stream2_IRQn);

}

static void MX_GPIO_Init(void)
{
  GPIO_InitTypeDef GPIO_InitStruct = {0};

  /* GPIO Ports Clock Enable */
  __HAL_RCC_GPIOC_CLK_ENABLE();
  __HAL_RCC_GPIOA_CLK_ENABLE();
  __HAL_RCC_GPIOB_CLK_ENABLE();

  /*Configure GPIO pin Output Level */
  HAL_GPIO_WritePin(GPIOC, pre_charge_Pin|charge_Pin|ctr_discharge_Pin|BMS_charge_Pin
                          |led_red_Pin|led_blue_Pin, GPIO_PIN_RESET);

  /*Configure GPIO pin Output Level */
  HAL_GPIO_WritePin(WAKEUP_GPIO_Port, WAKEUP_Pin, GPIO_PIN_RESET);

  /*Configure GPIO pin Output Level */
  HAL_GPIO_WritePin(GPIOB, measure_Pin|BMS_relay_Pin, GPIO_PIN_RESET);

  /*Configure GPIO pins : pre_charge_Pin charge_Pin ctr_discharge_Pin BMS_charge_Pin
                           led_red_Pin led_blue_Pin */
  GPIO_InitStruct.Pin = pre_charge_Pin|charge_Pin|ctr_discharge_Pin|BMS_charge_Pin
                          |led_red_Pin|led_blue_Pin;
  GPIO_InitStruct.Mode = GPIO_MODE_OUTPUT_PP;
  GPIO_InitStruct.Pull = GPIO_NOPULL;
  GPIO_InitStruct.Speed = GPIO_SPEED_FREQ_LOW;
  HAL_GPIO_Init(GPIOC, &GPIO_InitStruct);

  /*Configure GPIO pin : WAKEUP_Pin */
  GPIO_InitStruct.Pin = WAKEUP_Pin;
  GPIO_InitStruct.Mode = GPIO_MODE_OUTPUT_PP;
  GPIO_InitStruct.Pull = GPIO_NOPULL;
  GPIO_InitStruct.Speed = GPIO_SPEED_FREQ_LOW;
  HAL_GPIO_Init(WAKEUP_GPIO_Port, &GPIO_InitStruct);

  /*Configure GPIO pin : KSI_monitor_Pin */
  GPIO_InitStruct.Pin = KSI_monitor_Pin;
  GPIO_InitStruct.Mode = GPIO_MODE_IT_RISING_FALLING;
  GPIO_InitStruct.Pull = GPIO_NOPULL;
  HAL_GPIO_Init(KSI_monitor_GPIO_Port, &GPIO_InitStruct);

  /*Configure GPIO pin : status_Pin */
  GPIO_InitStruct.Pin = status_Pin;
  GPIO_InitStruct.Mode = GPIO_MODE_IT_RISING_FALLING;
  GPIO_InitStruct.Pull = GPIO_NOPULL;
  HAL_GPIO_Init(status_GPIO_Port, &GPIO_InitStruct);

  /*Configure GPIO pins : measure_Pin BMS_relay_Pin */
  GPIO_InitStruct.Pin = measure_Pin|BMS_relay_Pin;
  GPIO_InitStruct.Mode = GPIO_MODE_OUTPUT_PP;
  GPIO_InitStruct.Pull = GPIO_NOPULL;
  GPIO_InitStruct.Speed = GPIO_SPEED_FREQ_LOW;
  HAL_GPIO_Init(GPIOB, &GPIO_InitStruct);

  /*Configure GPIO pins : charger_signal_Pin ESDB_charger_monitor_Pin */
  GPIO_InitStruct.Pin = charger_signal_Pin|ESDB_charger_monitor_Pin;
  GPIO_InitStruct.Mode = GPIO_MODE_IT_RISING_FALLING;
  GPIO_InitStruct.Pull = GPIO_PULLDOWN;
  HAL_GPIO_Init(GPIOB, &GPIO_InitStruct);

  /*Configure GPIO pin : ESDB_monitor_Pin */
  GPIO_InitStruct.Pin = ESDB_monitor_Pin;
  GPIO_InitStruct.Mode = GPIO_MODE_IT_RISING_FALLING;
  GPIO_InitStruct.Pull = GPIO_PULLDOWN;
  HAL_GPIO_Init(ESDB_monitor_GPIO_Port, &GPIO_InitStruct);

  /* EXTI interrupt init*/
  HAL_NVIC_SetPriority(EXTI0_IRQn, 0, 0);
  HAL_NVIC_EnableIRQ(EXTI0_IRQn);

  HAL_NVIC_SetPriority(EXTI9_5_IRQn, 0, 0);
  HAL_NVIC_EnableIRQ(EXTI9_5_IRQn);

  HAL_NVIC_SetPriority(EXTI15_10_IRQn, 0, 0);
  HAL_NVIC_EnableIRQ(EXTI15_10_IRQn);

}

/* USER CODE BEGIN 4 */
void HAL_GPIO_EXTI_Callback(uint16_t GPIO_Pin){

	debounce_start = HAL_GetTick();
	debounce_pending = 1;

	/*if (GPIO_Pin == status_Pin) {
	    	if (IMD_OK == false)
	    		IMD_OK = true;
	    	else
	    		IMD_OK = false;
	    }

    if (GPIO_Pin == KSI_monitor_Pin) {
    	if (TSMS_watchdog == false)
    		TSMS_watchdog = true;
    	else
    		TSMS_watchdog = false;
    }

    if (GPIO_Pin == ESDB_monitor_Pin) {
    	if (ESDB_watchdog == false)
    		ESDB_watchdog = true;
    	else
    		ESDB_watchdog = false;
    }

    if (GPIO_Pin == charger_signal_Pin) {
    	if (charger_watchdog == false)
    		charger_watchdog = true;
    	else
    		charger_watchdog = false;
    }*/

}

void HAL_TIM_PeriodElapsedCallback(TIM_HandleTypeDef *htim){
	/*if (htim == &htim2) {
		HAL_GPIO_TogglePin(led_green_GPIO_Port, led_green_Pin);
	}*/
	if (htim == &htim4) {
		MS_send_flag = true;
	}

	if (htim->Instance == TIM6) {
		flagEnvioTPDO = 1;
	}

	if (htim == canopenNodeSTM32->timerHandle) {
		canopen_app_interrupt();
	}
}

void HAL_UARTEx_RxEventCallback(UART_HandleTypeDef *huart, uint16_t Size){

	if (huart->Instance == UART4){
		msg_slave_len = Size;
		MS_receive_flag = true;

		HAL_UARTEx_ReceiveToIdle_DMA(&huart4, msg_slave, SLAVE_RX_BUFF_SIZE);
		__HAL_DMA_DISABLE_IT(&hdma_uart4_rx, DMA_IT_HT);
	}
}

/* USER CODE END 4 */

void Error_Handler(void)
{
  __disable_irq();
  while (1)
  {
  }
}
